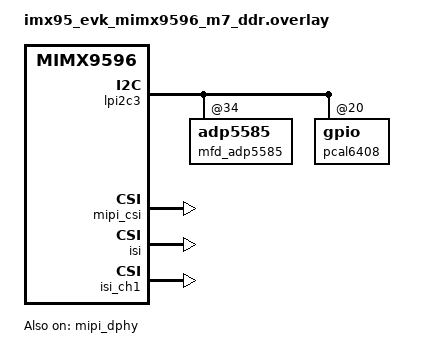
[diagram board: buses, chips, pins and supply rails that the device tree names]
/*
 * Copyright 2026 NXP
 * SPDX-License-Identifier: Apache-2.0
 */

#include <zephyr/dt-bindings/video/video-interfaces.h>

/ {
	chosen {
		/* Use ISI channel1 as capture device for this sample */
		zephyr,camera = &isi_ch1;
	};
};

/* Enable LPI2C3 and its IO expanders for camera use */
&lpi2c3 {
	status = "okay";

	mfd_adp5585: adp5585@34 {
		status = "okay";

		adp5585_gpio: adp5585_gpio {
			status = "okay";
		};
	};

	pcal6408: gpio@20 {
		status = "okay";
	};
};

&reg_cam_dvdd {
	status = "okay";
};

&reg_cam_vddio {
	status = "okay";
};

&reg_cam_avdd {
	status = "okay";
};

&reg_cam_vddio_hmisc {
	status = "okay";
};

/* Board-specific wiring: clock, pinctrl, power supplies for AP1302 */
&ap1302 {
	power-supplies = <&reg_cam_dvdd>,
			 <&reg_cam_vddio>,
			 <&reg_cam_avdd>,
			 <&reg_cam_vddio_hmisc>;
	clock-names = "mclk";
	clocks = <&scmi_clk IMX95_CLK_CCMCKO1>;
	pinctrl-0 = <&cmmclk1_default>;
	pinctrl-names = "default";
};

&mipi_dphy {
	status = "okay";
};

&mipi_csi {
	status = "okay";

	ports {
		#address-cells = <1>;
		#size-cells = <0>;

		port@0 {
			reg = <0>;
			csi_ep_in: endpoint {
				remote-endpoint-label = "ap1302_ep_out";
				bus-type = <VIDEO_BUS_TYPE_CSI2_DPHY>;
				data-lanes = <1 2 3 4>;
			};
		};

		port@1 {
			reg = <1>;
			csi2rx_ep_out: endpoint {
				remote-endpoint-label = "isi_1_ep_in";
				data-lanes = <1 2 3 4>;
			};
		};
	};
};

&isi {
	status = "okay";
};

&isi_ch1 {
	status = "okay";
	input-port = <2>;

	ports {
		#address-cells = <1>;
		#size-cells = <0>;

		port@0 {
			reg = <0>;
			isi_1_ep_in: endpoint {
				remote-endpoint-label = "csi2rx_ep_out";
				data-lanes = <1 2 3 4>;
			};
		};
	};
};
